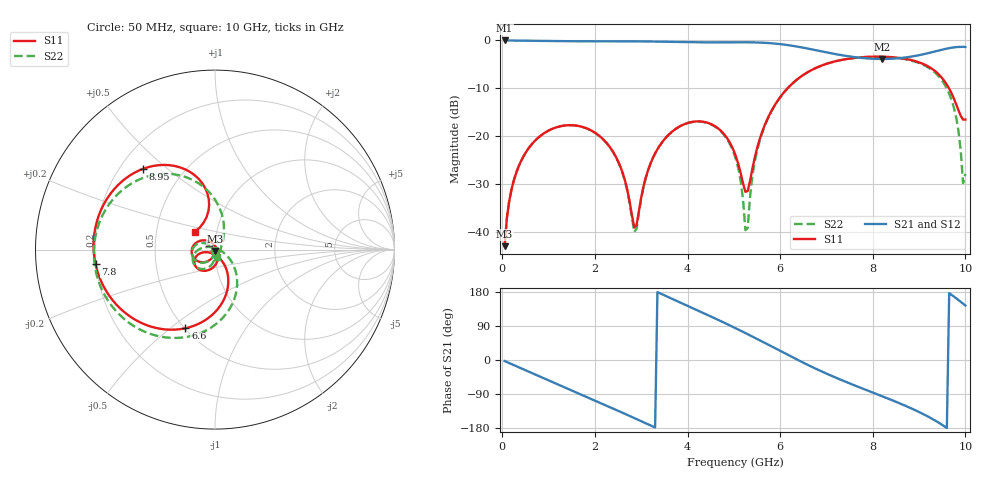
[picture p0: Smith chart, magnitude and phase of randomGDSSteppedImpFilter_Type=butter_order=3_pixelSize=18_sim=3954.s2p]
! freq	dB(S11)	phase(S11)	dB(S12)	phase(S12)
!  dB(S21)	phase(S21)	dB(S22)	phase(S22)
!S-par simulation data
#  GHz  S  DB  R 50
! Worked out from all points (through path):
!   200 points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, 50 MHz to 10 GHz, reference 50 ohm
!   highest |S21| = 0.00 dB at 50 MHz (marker M1); lowest = -3.9 dB at 8.2 GHz (marker M2)
!   group delay of S21, straight-line fit = 157 ps
!   lowest |S11| = -42.9 dB at 50 MHz (marker M3), VSWR 1.01, Z = 50 - j0.718 ohm
!   |S11| at or under -10 dB: start of sweep to 6.158 GHz; 9.648 GHz to end of sweep
!   |S22| runs from -42.8 to -3.4 dB; largest |S21 - S12| = 0
!   S11 on the Smith chart (normalised r, x): 50 MHz: 1.00, -0.01; 6.6 GHz: 0.50, -0.57; 7.8 GHz: 0.20, -0.06; 8.95 GHz: 0.29, +0.42; 10 GHz: 0.79, +0.16
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0.05  -42.87 -91.9  -0.00 -2.7  -0.00 -2.7  -42.83 -91.5
0.2  -31.01 -100.7  -0.02 -10.9  -0.02 -10.9  -31.01 -100.3
0.55  -22.72 -120.8  -0.06 -29.7  -0.06 -29.7  -22.72 -119.5
1.75  -18.08 172.7  -0.17 -93.5  -0.17 -93.5  -18.09 178.5
2.5  -25.18 125.0  -0.17 -133.9  -0.17 -133.9  -25.22 144.7
2.85  -38.95 40.6  -0.18 -153.2  -0.18 -153.2  -39.92 -168.9
3.4  -21.91 -86.0  -0.26 176.3  -0.26 176.3  -21.92 -100.8
4.35  -16.97 -141.1  -0.40 123.5  -0.40 123.5  -17.00 -149.3
5.05  -24.32 -166.1  -0.37 83.2  -0.37 83.2  -24.95 166.3
5.3  -31.37 -98.7  -0.38 68.1  -0.38 68.1  -39.08 27.4
5.4  -26.75 -66.5  -0.40 61.9  -0.40 61.9  -28.31 -13.9
5.65  -18.05 -59.8  -0.48 46.2  -0.48 46.2  -18.23 -37.9
6.6  -6.59 -110.7  -1.70 -13.2  -1.70 -13.2  -6.59 -99.2
6.7  -6.06 -116.4  -1.89 -19.0  -1.89 -19.0  -6.06 -105.1
7.8  -3.47 -173.1  -3.69 -76.4  -3.69 -76.4  -3.49 -161.6
8.2  -3.39 168.0  -3.87 -95.5  -3.87 -95.5  -3.42 179.7
8.35  -3.45 161.0  -3.84 -102.8  -3.84 -102.8  -3.49 172.6
8.95  -4.41 131.5  -3.17 -134.3  -3.17 -134.3  -4.54 141.5
9.65  -10.04 97.7  -1.61 176.4  -1.61 176.4  -11.08 90.0
9.85  -14.54 104.5  -1.35 158.3  -1.35 158.3  -18.81 63.8
9.95  -16.49 124.3  -1.34 148.6  -1.34 148.6  -29.70 10.4
10  -16.48 137.8  -1.36 143.7  -1.36 143.7  -27.81 -75.5
